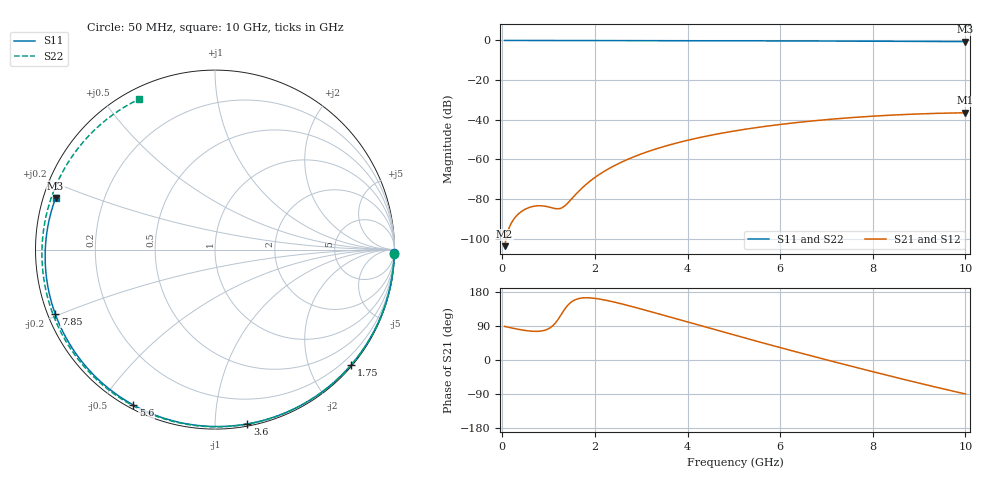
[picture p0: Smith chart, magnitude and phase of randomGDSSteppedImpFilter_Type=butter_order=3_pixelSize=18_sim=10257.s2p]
! freq	dB(S11)	phase(S11)	dB(S12)	phase(S12)
!  dB(S21)	phase(S21)	dB(S22)	phase(S22)
!S-par simulation data
#  GHz  S  DB  R 50
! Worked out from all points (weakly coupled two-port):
!   200 points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, 50 MHz to 10 GHz, reference 50 ohm
!   highest |S21| = -36.48 dB at 10 GHz (marker M1); lowest = -103.8 dB at 50 MHz (marker M2)
!   lowest |S11| = -0.6 dB at 10 GHz (marker M3), VSWR 28.97, Z = 1.77 + j7.88 ohm
!   |S11| at or under -10 dB: nowhere
!   |S22| runs from -0.5 to 0.0 dB; largest |S21 - S12| = 0
!   S11 on the Smith chart (normalised r, x): 50 MHz: open; 1.75 GHz: 0.03, -2.74; 3.6 GHz: 0.01, -1.20; 5.6 GHz: 0.02, -0.60; 7.85 GHz: 0.02, -0.19; 10 GHz: 0.04, +0.16
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0.05  -0.00 -1.1  -103.75 88.6  -103.75 88.6  -0.00 -1.5
0.4  -0.01 -9.3  -86.49 79.8  -86.49 79.8  -0.02 -12.5
0.75  -0.02 -17.4  -83.40 75.6  -83.40 75.6  -0.03 -23.4
1.1  -0.03 -25.5  -84.57 91.6  -84.57 91.6  -0.04 -34.1
1.5  -0.04 -34.6  -79.83 153.8  -79.83 153.8  -0.06 -46.1
1.75  -0.05 -40.2  -73.82 163.9  -73.82 163.9  -0.07 -53.4
2.05  -0.06 -46.8  -68.28 161.8  -68.28 161.8  -0.08 -62.0
2.25  -0.07 -51.2  -65.32 157.4  -65.32 157.4  -0.08 -67.6
2.45  -0.07 -55.5  -62.78 151.9  -62.78 151.9  -0.09 -73.1
2.9  -0.08 -65.1  -58.13 137.8  -58.13 137.8  -0.10 -85.1
3.4  -0.10 -75.4  -54.12 120.9  -54.12 120.9  -0.12 -97.8
3.6  -0.11 -79.5  -52.75 114.1  -52.75 114.1  -0.13 -102.8
4.3  -0.13 -93.3  -48.78 90.0  -48.78 90.0  -0.15 -119.4
5.05  -0.16 -107.6  -45.51 64.4  -45.51 64.4  -0.19 -136.3
5.6  -0.19 -117.8  -43.58 46.0  -43.58 46.0  -0.22 -148.2
6.15  -0.22 -127.7  -41.95 27.9  -41.95 27.9  -0.25 -159.8
6.7  -0.26 -137.6  -40.59 10.1  -40.59 10.1  -0.29 -171.4
7.25  -0.31 -147.3  -39.44 -7.4  -39.44 -7.4  -0.33 177.2
7.85  -0.36 -158.0  -38.41 -26.2  -38.41 -26.2  -0.37 164.6
8.35  -0.41 -167.0  -37.72 -41.5  -37.72 -41.5  -0.41 153.9
9.15  -0.50 178.4  -36.93 -65.4  -36.93 -65.4  -0.48 136.3
10  -0.60 162.1  -36.48 -89.6  -36.48 -89.6  -0.55 116.7
